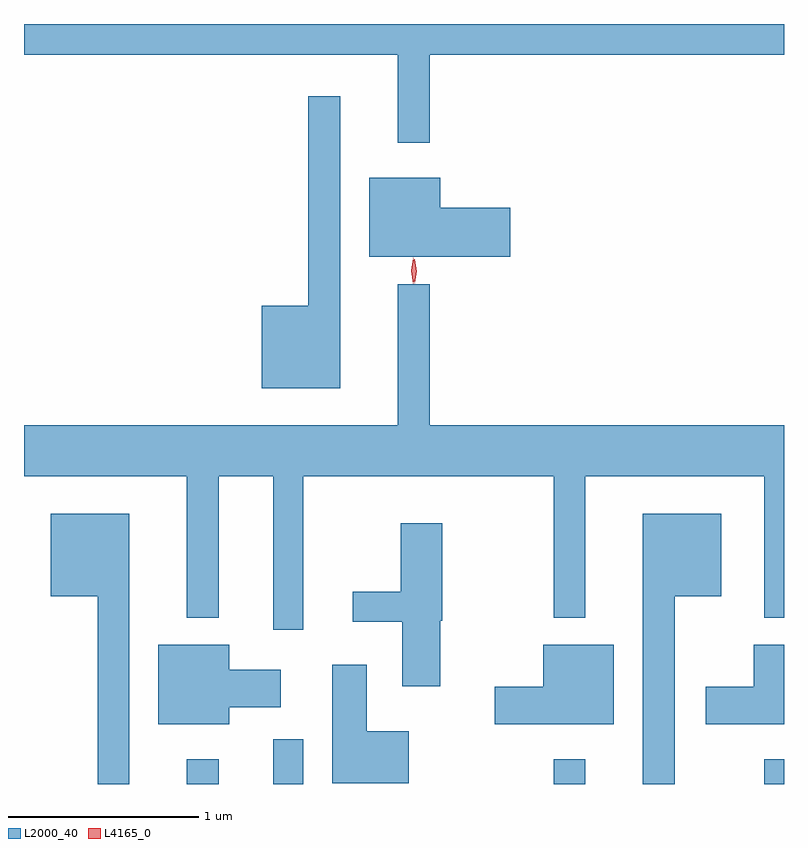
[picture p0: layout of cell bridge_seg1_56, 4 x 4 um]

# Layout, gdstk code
import gdstk
lib = gdstk.Library(unit=1e-6, precision=1e-09)
def R(c, l, rs):  # rectangles x0, y0, x1, y1
    for r in rs: c.add(gdstk.rectangle(r[:2], r[2:], *l))
def P(c, l, *ps):  # polygons
    for p in ps: c.add(gdstk.Polygon(p, *l))
L2000_40 = (2000, 40)
L4165_0 = (4165, 0)

bridge_seg1_56 = lib.new_cell('bridge_seg1_56')
R(bridge_seg1_56, L2000_40, [(1906.171,851.337,1906.339,851.468), (1906.626,851.337,1906.784,851.573), (1908.101,851.337,1908.269,851.468), (1909.211,851.337,1909.314,851.468)])
P(bridge_seg1_56, L2000_40, [(1907.449,855.176),(1909.314,855.176),(1909.314,855.337),(1905.314,855.337),(1905.314,855.176),(1907.281,855.176),(1907.281,854.713),(1907.449,854.713)],
  [(1906.979,854.958),(1906.811,854.958),(1906.811,853.854),(1906.566,853.854),(1906.566,853.421),(1906.979,853.421)],
  [(1907.874,854.369),(1907.504,854.369),(1907.504,854.529),(1907.131,854.529),(1907.131,854.111),(1907.874,854.111)],
  [(1906.784,852.956),(1908.101,852.956),(1908.101,852.213),(1908.269,852.213),(1908.269,852.956),(1909.211,852.956),(1909.211,852.213),(1909.314,852.213),(1909.314,853.224),(1907.449,853.224),(1907.449,853.968),(1907.281,853.968),(1907.281,853.224),(1905.314,853.224),(1905.314,852.956),(1906.171,852.956),(1906.171,852.213),(1906.339,852.213),(1906.339,852.956),(1906.626,852.956),(1906.626,852.148),(1906.784,852.148)],
  [(1905.869,852.759),(1905.456,852.759),(1905.456,852.326),(1905.701,852.326),(1905.701,851.337),(1905.869,851.337)],
  [(1908.739,852.326),(1908.984,852.326),(1908.984,852.759),(1908.571,852.759),(1908.571,851.337),(1908.739,851.337)],
  [(1907.504,852.195),(1907.514,852.195),(1907.514,852.709),(1907.296,852.709),(1907.296,852.349),(1907.043,852.349),(1907.043,852.191),(1907.306,852.191),(1907.306,851.851),(1907.504,851.851)],
  [(1906.394,851.741),(1906.664,851.741),(1906.664,851.939),(1906.394,851.939),(1906.394,852.069),(1906.021,852.069),(1906.021,851.651),(1906.394,851.651)],
  [(1908.419,852.069),(1908.046,852.069),(1908.046,851.849),(1907.791,851.849),(1907.791,851.651),(1908.419,851.651)],
  [(1909.314,852.069),(1909.156,852.069),(1909.156,851.849),(1908.901,851.849),(1908.901,851.651),(1909.314,851.651)],
  [(1907.339,851.614),(1907.119,851.614),(1907.119,851.964),(1906.936,851.964),(1906.936,851.341),(1907.339,851.341)])
P(bridge_seg1_56, L4165_0, [(1907.362,853.97),(1907.353,854.038),(1907.362,854.105),(1907.362,854.106),(1907.363,854.105),(1907.372,854.038),(1907.363,853.97),(1907.363,853.97)],
  [(1907.371,853.973),(1907.37,853.974),(1907.36,854.036),(1907.369,854.099),(1907.369,854.1),(1907.37,854.099),(1907.38,854.036),(1907.371,853.974)])

lib.write_gds('bridge_seg1_56.gds')
